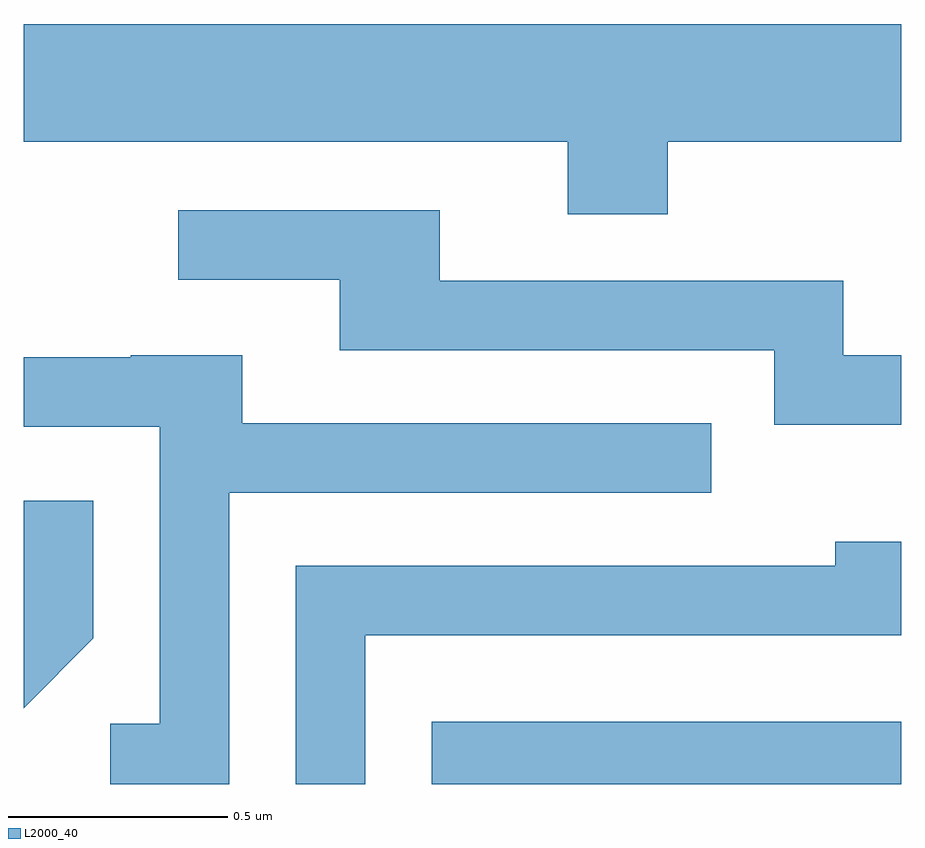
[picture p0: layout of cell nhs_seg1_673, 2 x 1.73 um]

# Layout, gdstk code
import gdstk
lib = gdstk.Library(unit=1e-6, precision=1e-09)
def R(c, l, rs):  # rectangles x0, y0, x1, y1
    for r in rs: c.add(gdstk.rectangle(r[:2], r[2:], *l))
def P(c, l, *ps):  # polygons
    for p in ps: c.add(gdstk.Polygon(p, *l))
L2000_40 = (2000, 40)

nhs_seg1_673 = lib.new_cell('nhs_seg1_673')
R(nhs_seg1_673, L2000_40, [(190.541,964.712,191.611,964.854)])
P(nhs_seg1_673, L2000_40, [(191.079,966.176),(191.611,966.176),(191.611,966.444),(189.611,966.444),(189.611,966.176),(190.851,966.176),(190.851,966.011),(191.079,966.011)],
  [(191.611,965.689),(191.479,965.689),(191.479,965.859),(190.559,965.859),(190.559,966.019),(189.963,966.019),(189.963,965.861),(190.331,965.861),(190.331,965.701),(191.321,965.701),(191.321,965.531),(191.611,965.531)],
  [(190.079,965.376),(191.178,965.376),(191.178,965.534),(190.109,965.534),(190.109,965.689),(189.855,965.689),(189.855,965.684),(189.611,965.684),(189.611,965.526),(189.921,965.526),(189.921,964.849),(189.808,964.849),(189.808,964.712),(190.079,964.712)],
  [(189.769,965.044),(189.769,965.358),(189.611,965.358),(189.611,964.885)],
  [(190.389,965.051),(191.611,965.051),(191.611,965.264),(191.461,965.264),(191.461,965.209),(190.231,965.209),(190.231,964.712),(190.389,964.712)])

lib.write_gds('nhs_seg1_673.gds')
